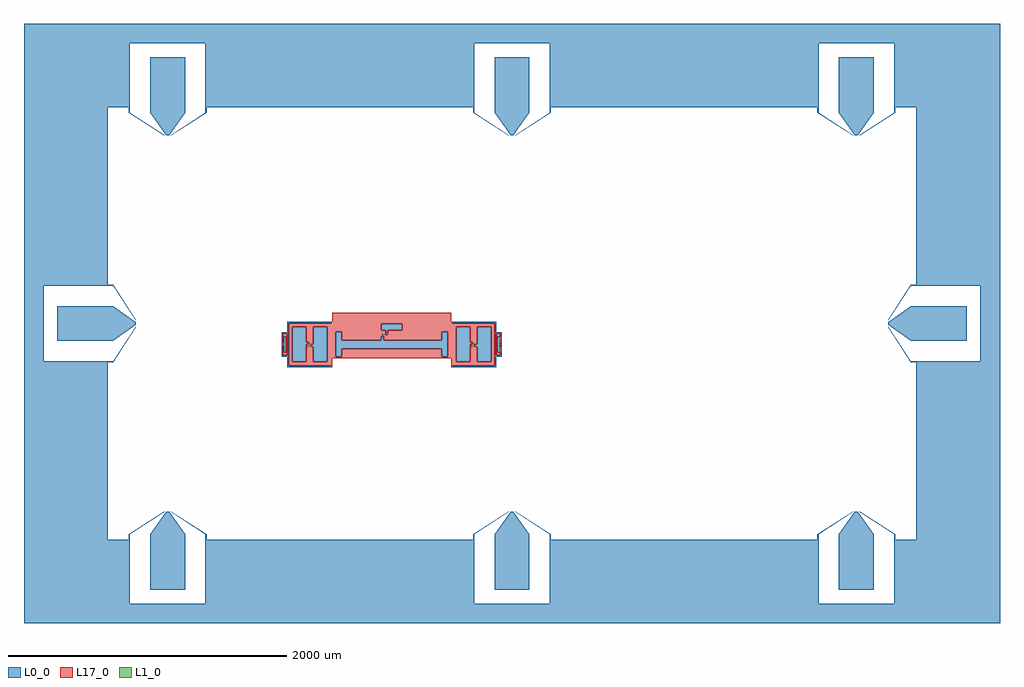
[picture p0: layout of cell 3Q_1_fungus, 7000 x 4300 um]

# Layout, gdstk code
import gdstk
lib = gdstk.Library(unit=1e-6, precision=1e-09)
def P(c, l, *ps):  # polygons
    for p in ps: c.add(gdstk.Polygon(p, *l))
L0_0 = (0, 0)
L1_0 = (1, 0)
L17_0 = (17, 0)

c_3q_1_fungus = lib.new_cell('3Q_1_fungus')
P(c_3q_1_fungus, L0_0, [(7000,0),(7000,4300),(0,4300),(0,1871),(132,1871),(132,2429),(600,2429),(600,3700),(751,3700),(751,4168),(1309,4168),(1309,3700),(3221,3700),(3221,4168),(3779,4168),(3779,3700),(5691,3700),(5691,4168),(6249,4168),(6249,3700),(6400,3700),(6400,2429),(6868,2429),(6868,1871),(6400,1871),(6400,600),(6249,600),(6249,132),(5691,132),(5691,600),(3779,600),(3779,132),(3221,132),(3221,600),(1309,600),(1309,132),(751,132),(751,600),(600,600),(600,1871),(132,1871),(0,1871),(0,0)],
  [(800,2123),(800,2128),(640,1879),(140,1879),(140,2421),(640,2421),(800,2172),(800,2177),(640,2429),(132,2429),(132,1871),(640,1871)],
  [(240,2025),(640,2025),(800,2140),(800,2160),(640,2275),(240,2275)],
  [(6200,2177),(6200,2172),(6360,2421),(6860,2421),(6860,1879),(6360,1879),(6200,2128),(6200,2123),(6360,1871),(6868,1871),(6868,2429),(6360,2429)],
  [(6760,2275),(6360,2275),(6200,2160),(6200,2140),(6360,2025),(6760,2025)],
  [(1057,800),(1052,800),(1301,640),(1301,140),(759,140),(759,640),(1008,800),(1003,800),(751,640),(751,132),(1309,132),(1309,640)],
  [(1155,240),(1155,640),(1040,800),(1020,800),(905,640),(905,240)],
  [(1003,3500),(1008,3500),(759,3660),(759,4160),(1301,4160),(1301,3660),(1052,3500),(1057,3500),(1309,3660),(1309,4168),(751,4168),(751,3660)],
  [(905,4060),(905,3660),(1020,3500),(1040,3500),(1155,3660),(1155,4060)],
  [(3527,800),(3522,800),(3771,640),(3771,140),(3229,140),(3229,640),(3478,800),(3473,800),(3221,640),(3221,132),(3779,132),(3779,640)],
  [(3625,240),(3625,640),(3510,800),(3490,800),(3375,640),(3375,240)],
  [(3473,3500),(3478,3500),(3229,3660),(3229,4160),(3771,4160),(3771,3660),(3522,3500),(3527,3500),(3779,3660),(3779,4168),(3221,4168),(3221,3660)],
  [(3375,4060),(3375,3660),(3490,3500),(3510,3500),(3625,3660),(3625,4060)],
  [(5997,800),(5992,800),(6241,640),(6241,140),(5699,140),(5699,640),(5948,800),(5943,800),(5691,640),(5691,132),(6249,132),(6249,640)],
  [(6095,240),(6095,640),(5980,800),(5960,800),(5845,640),(5845,240)],
  [(5943,3500),(5948,3500),(5699,3660),(5699,4160),(6241,4160),(6241,3660),(5992,3500),(5997,3500),(6249,3660),(6249,4168),(5691,4168),(5691,3660)],
  [(5845,4060),(5845,3660),(5960,3500),(5980,3500),(6095,3660),(6095,4060)],
  [(2202.5,1847.5),(1897.5,1847.5),(1897.5,2152.5),(2202.5,2152.5),(2202.5,2162.5),(1887.5,2162.5),(1887.5,2088.75),(1847.5,2088.75),(1847.5,2012),(1857.5,2012),(1857.5,2078.75),(1887.5,2078.75),(1887.5,1921.25),(1857.5,1921.25),(1857.5,1988),(1847.5,1988),(1847.5,1911.25),(1887.5,1911.25),(1887.5,1837.5),(2202.5,1837.5)],
  [(2175,2125),(2075,2125),(2075,2000),(2055,2000),(2055,1992),(2063,1992),(2063,1987),(2055,1987),(2055,1984),(2075,1984),(2075,1875),(2175,1875)],
  [(2025,2000),(2032,2000),(2032,2008),(2037,2008),(2037,2000),(2045,2000),(2045,2016),(2025,2016),(2025,2125),(1925,2125),(1925,1875),(2025,1875)],
  [(1880.5,2055.75),(1864.5,2055.75),(1864.5,2004),(1857.5,2004),(1857.5,1996),(1864.5,1996),(1864.5,1944.25),(1880.5,1944.25)],
  [(3350,2125),(3250,2125),(3250,2000),(3230,2000),(3230,1992),(3238,1992),(3238,1987),(3230,1987),(3230,1984),(3250,1984),(3250,1875),(3350,1875)],
  [(3200,2000),(3207,2000),(3207,2008),(3212,2008),(3212,2000),(3220,2000),(3220,2016),(3200,2016),(3200,2125),(3100,2125),(3100,1875),(3200,1875)],
  [(3072.5,2162.5),(3072.5,2152.5),(3377.5,2152.5),(3377.5,1847.5),(3072.5,1847.5),(3072.5,1837.5),(3387.5,1837.5),(3387.5,1911.25),(3427.5,1911.25),(3427.5,1988),(3417.5,1988),(3417.5,1921.25),(3387.5,1921.25),(3387.5,2078.75),(3417.5,2078.75),(3417.5,2012),(3427.5,2012),(3427.5,2088.75),(3387.5,2088.75),(3387.5,2162.5)],
  [(3410.5,1996),(3417.5,1996),(3417.5,2004),(3410.5,2004),(3410.5,2055.75),(3394.5,2055.75),(3394.5,1944.25),(3410.5,1944.25)],
  [(2997.5,2090),(2997.5,2030),(2578.5,2030),(2578.5,2060),(2562.5,2060),(2562.5,2030),(2277.5,2030),(2277.5,2090),(2237.5,2090),(2237.5,1910),(2277.5,1910),(2277.5,1970),(2997.5,1970),(2997.5,1910),(3037.5,1910),(3037.5,2090)],
  [(2562.5,2150),(2562.5,2100),(2594.5,2100),(2594.5,2070),(2610.5,2070),(2610.5,2100),(2712.5,2100),(2712.5,2150)],
  [(7000,0),(7000,4300),(0,4300),(0,1871),(132,1871),(132,2429),(600,2429),(600,3700),(751,3700),(751,4168),(1309,4168),(1309,3700),(3221,3700),(3221,4168),(3779,4168),(3779,3700),(5691,3700),(5691,4168),(6249,4168),(6249,3700),(6400,3700),(6400,2429),(6868,2429),(6868,1871),(6400,1871),(6400,600),(6249,600),(6249,132),(5691,132),(5691,600),(3779,600),(3779,132),(3221,132),(3221,600),(1309,600),(1309,132),(751,132),(751,600),(600,600),(600,1871),(132,1871),(0,1871),(0,0)],
  [(800,2123),(800,2128),(640,1879),(140,1879),(140,2421),(640,2421),(800,2172),(800,2177),(640,2429),(132,2429),(132,1871),(640,1871)],
  [(240,2025),(640,2025),(800,2140),(800,2160),(640,2275),(240,2275)],
  [(6200,2177),(6200,2172),(6360,2421),(6860,2421),(6860,1879),(6360,1879),(6200,2128),(6200,2123),(6360,1871),(6868,1871),(6868,2429),(6360,2429)],
  [(6760,2275),(6360,2275),(6200,2160),(6200,2140),(6360,2025),(6760,2025)],
  [(1057,800),(1052,800),(1301,640),(1301,140),(759,140),(759,640),(1008,800),(1003,800),(751,640),(751,132),(1309,132),(1309,640)],
  [(1155,240),(1155,640),(1040,800),(1020,800),(905,640),(905,240)],
  [(1003,3500),(1008,3500),(759,3660),(759,4160),(1301,4160),(1301,3660),(1052,3500),(1057,3500),(1309,3660),(1309,4168),(751,4168),(751,3660)],
  [(905,4060),(905,3660),(1020,3500),(1040,3500),(1155,3660),(1155,4060)],
  [(3527,800),(3522,800),(3771,640),(3771,140),(3229,140),(3229,640),(3478,800),(3473,800),(3221,640),(3221,132),(3779,132),(3779,640)],
  [(3625,240),(3625,640),(3510,800),(3490,800),(3375,640),(3375,240)],
  [(3473,3500),(3478,3500),(3229,3660),(3229,4160),(3771,4160),(3771,3660),(3522,3500),(3527,3500),(3779,3660),(3779,4168),(3221,4168),(3221,3660)],
  [(3375,4060),(3375,3660),(3490,3500),(3510,3500),(3625,3660),(3625,4060)],
  [(5997,800),(5992,800),(6241,640),(6241,140),(5699,140),(5699,640),(5948,800),(5943,800),(5691,640),(5691,132),(6249,132),(6249,640)],
  [(6095,240),(6095,640),(5980,800),(5960,800),(5845,640),(5845,240)],
  [(5943,3500),(5948,3500),(5699,3660),(5699,4160),(6241,4160),(6241,3660),(5992,3500),(5997,3500),(6249,3660),(6249,4168),(5691,4168),(5691,3660)],
  [(5845,4060),(5845,3660),(5960,3500),(5980,3500),(6095,3660),(6095,4060)],
  [(2202.5,1847.5),(1897.5,1847.5),(1897.5,2152.5),(2202.5,2152.5),(2202.5,2162.5),(1887.5,2162.5),(1887.5,2088.75),(1847.5,2088.75),(1847.5,2012),(1857.5,2012),(1857.5,2078.75),(1887.5,2078.75),(1887.5,1921.25),(1857.5,1921.25),(1857.5,1988),(1847.5,1988),(1847.5,1911.25),(1887.5,1911.25),(1887.5,1837.5),(2202.5,1837.5)],
  [(2175,2125),(2075,2125),(2075,2000),(2055,2000),(2055,1992),(2063,1992),(2063,1987),(2055,1987),(2055,1984),(2075,1984),(2075,1875),(2175,1875)],
  [(2025,2000),(2032,2000),(2032,2008),(2037,2008),(2037,2000),(2045,2000),(2045,2016),(2025,2016),(2025,2125),(1925,2125),(1925,1875),(2025,1875)],
  [(1880.5,2055.75),(1864.5,2055.75),(1864.5,2004),(1857.5,2004),(1857.5,1996),(1864.5,1996),(1864.5,1944.25),(1880.5,1944.25)],
  [(3350,2125),(3250,2125),(3250,2000),(3230,2000),(3230,1992),(3238,1992),(3238,1987),(3230,1987),(3230,1984),(3250,1984),(3250,1875),(3350,1875)],
  [(3200,2000),(3207,2000),(3207,2008),(3212,2008),(3212,2000),(3220,2000),(3220,2016),(3200,2016),(3200,2125),(3100,2125),(3100,1875),(3200,1875)],
  [(3072.5,2162.5),(3072.5,2152.5),(3377.5,2152.5),(3377.5,1847.5),(3072.5,1847.5),(3072.5,1837.5),(3387.5,1837.5),(3387.5,1911.25),(3427.5,1911.25),(3427.5,1988),(3417.5,1988),(3417.5,1921.25),(3387.5,1921.25),(3387.5,2078.75),(3417.5,2078.75),(3417.5,2012),(3427.5,2012),(3427.5,2088.75),(3387.5,2088.75),(3387.5,2162.5)],
  [(3410.5,1996),(3417.5,1996),(3417.5,2004),(3410.5,2004),(3410.5,2055.75),(3394.5,2055.75),(3394.5,1944.25),(3410.5,1944.25)],
  [(2997.5,2090),(2997.5,2030),(2578.5,2030),(2578.5,2060),(2562.5,2060),(2562.5,2030),(2277.5,2030),(2277.5,2090),(2237.5,2090),(2237.5,1910),(2277.5,1910),(2277.5,1970),(2997.5,1970),(2997.5,1910),(3037.5,1910),(3037.5,2090)],
  [(2562.5,2150),(2562.5,2100),(2594.5,2100),(2594.5,2070),(2610.5,2070),(2610.5,2100),(2712.5,2100),(2712.5,2150)])
P(c_3q_1_fungus, L1_0, [(2030.5,1988.606),(2030.5,1988.394),(2035.394,1988.394),(2035.394,1975.5),(2035.606,1975.5),(2035.606,1988.394),(2050.5,1988.394),(2050.5,1987.5),(2062.5,1987.5),(2062.5,1989.5),(2050.5,1989.5),(2050.5,1988.606),(2035.606,1988.606),(2035.606,1995.5),(2036.5,1995.5),(2036.5,2007.5),(2034.5,2007.5),(2034.5,1995.5),(2035.394,1995.5),(2035.394,1988.606)],
  [(3205.5,1988.606),(3205.5,1988.394),(3210.394,1988.394),(3210.394,1975.5),(3210.606,1975.5),(3210.606,1988.394),(3225.5,1988.394),(3225.5,1987.5),(3237.5,1987.5),(3237.5,1989.5),(3225.5,1989.5),(3225.5,1988.606),(3210.606,1988.606),(3210.606,1995.5),(3211.5,1995.5),(3211.5,2007.5),(3209.5,2007.5),(3209.5,1995.5),(3210.394,1995.5),(3210.394,1988.606)],
  [(2573.273,2070.212),(2573.273,2076),(2573.061,2076),(2573.061,2070.212),(2567.939,2070.212),(2567.939,2076),(2567.727,2076),(2567.727,2070.212),(2562.5,2070.212),(2562.5,2070),(2567.727,2070),(2567.727,2060),(2567.939,2060),(2567.939,2070),(2573.061,2070),(2573.061,2060),(2573.273,2060),(2573.273,2070),(2594.5,2070),(2594.5,2070.212)],
  [(2030.5,1988.606),(2030.5,1988.394),(2035.394,1988.394),(2035.394,1975.5),(2035.606,1975.5),(2035.606,1988.394),(2050.5,1988.394),(2050.5,1987.5),(2062.5,1987.5),(2062.5,1989.5),(2050.5,1989.5),(2050.5,1988.606),(2035.606,1988.606),(2035.606,1995.5),(2036.5,1995.5),(2036.5,2007.5),(2034.5,2007.5),(2034.5,1995.5),(2035.394,1995.5),(2035.394,1988.606)],
  [(3205.5,1988.606),(3205.5,1988.394),(3210.394,1988.394),(3210.394,1975.5),(3210.606,1975.5),(3210.606,1988.394),(3225.5,1988.394),(3225.5,1987.5),(3237.5,1987.5),(3237.5,1989.5),(3225.5,1989.5),(3225.5,1988.606),(3210.606,1988.606),(3210.606,1995.5),(3211.5,1995.5),(3211.5,2007.5),(3209.5,2007.5),(3209.5,1995.5),(3210.394,1995.5),(3210.394,1988.606)],
  [(2573.273,2070.212),(2573.273,2076),(2573.061,2076),(2573.061,2070.212),(2567.939,2070.212),(2567.939,2076),(2567.727,2076),(2567.727,2070.212),(2562.5,2070.212),(2562.5,2070),(2567.727,2070),(2567.727,2060),(2567.939,2060),(2567.939,2070),(2573.061,2070),(2573.061,2060),(2573.273,2060),(2573.273,2070),(2594.5,2070),(2594.5,2070.212)])
P(c_3q_1_fungus, L17_0, [(2212.5,2162.5),(2202.5,2162.5),(2202.5,2152.5),(1897.5,2152.5),(1897.5,1875),(1925,1875),(1925,2125),(2025,2125),(2025,2016),(2045,2016),(2045,2000),(2037,2000),(2037,2008),(2032,2008),(2032,2000),(2025,2000),(2025,1984),(2055,1984),(2055,1987),(2063,1987),(2063,1992),(2055,1992),(2055,2000),(2075,2000),(2075,2125),(2175,2125),(2175,1875),(2075,1875),(2075,1984),(2055,1984),(2025,1984),(2025,1875),(1925,1875),(1897.5,1875),(1897.5,1847.5),(2202.5,1847.5),(2202.5,1837.5),(2212.5,1837.5)],
  [(1857.5,1988),(1857.5,1921.25),(1887.5,1921.25),(1887.5,2078.75),(1857.5,2078.75),(1857.5,2012),(1847.5,2012),(1847.5,1996),(1857.5,1996),(1857.5,2004),(1864.5,2004),(1864.5,2055.75),(1880.5,2055.75),(1880.5,1944.25),(1864.5,1944.25),(1864.5,1996),(1857.5,1996),(1847.5,1996),(1847.5,1988)],
  [(3072.5,1847.5),(3377.5,1847.5),(3377.5,2152.5),(3072.5,2152.5),(3072.5,2162.5),(3062.5,2162.5),(3062.5,1875),(3100,1875),(3100,2125),(3200,2125),(3200,2016),(3220,2016),(3220,2000),(3212,2000),(3212,2008),(3207,2008),(3207,2000),(3200,2000),(3200,1984),(3230,1984),(3230,1987),(3238,1987),(3238,1992),(3230,1992),(3230,2000),(3250,2000),(3250,2125),(3350,2125),(3350,1875),(3250,1875),(3250,1984),(3230,1984),(3200,1984),(3200,1875),(3100,1875),(3062.5,1875),(3062.5,1837.5),(3072.5,1837.5)],
  [(3417.5,1988),(3427.5,1988),(3427.5,2012),(3417.5,2012),(3417.5,2078.75),(3387.5,2078.75),(3387.5,1944.25),(3394.5,1944.25),(3394.5,2055.75),(3410.5,2055.75),(3410.5,2004),(3417.5,2004),(3417.5,1996),(3410.5,1996),(3410.5,1944.25),(3394.5,1944.25),(3387.5,1944.25),(3387.5,1921.25),(3417.5,1921.25)],
  [(2212.5,2227.5),(2212.5,1902.5),(3037.5,1902.5),(3037.5,1910),(2997.5,1910),(2997.5,1970),(2277.5,1970),(2277.5,1910),(2237.5,1910),(2237.5,2090),(2277.5,2090),(2277.5,2030),(2562.5,2030),(2562.5,2060),(2578.5,2060),(2578.5,2030),(2610.5,2030),(2610.5,2070),(2594.5,2070),(2594.5,2100),(2562.5,2100),(2562.5,2150),(2712.5,2150),(2712.5,2100),(2610.5,2100),(2610.5,2070),(2610.5,2030),(2997.5,2030),(2997.5,2090),(3037.5,2090),(3037.5,1910),(3037.5,1902.5),(3062.5,1902.5),(3062.5,2227.5)],
  [(2212.5,2162.5),(2202.5,2162.5),(2202.5,2152.5),(1897.5,2152.5),(1897.5,1875),(1925,1875),(1925,2125),(2025,2125),(2025,2016),(2045,2016),(2045,2000),(2037,2000),(2037,2008),(2032,2008),(2032,2000),(2025,2000),(2025,1984),(2055,1984),(2055,1987),(2063,1987),(2063,1992),(2055,1992),(2055,2000),(2075,2000),(2075,2125),(2175,2125),(2175,1875),(2075,1875),(2075,1984),(2055,1984),(2025,1984),(2025,1875),(1925,1875),(1897.5,1875),(1897.5,1847.5),(2202.5,1847.5),(2202.5,1837.5),(2212.5,1837.5)],
  [(1857.5,1988),(1857.5,1921.25),(1887.5,1921.25),(1887.5,2078.75),(1857.5,2078.75),(1857.5,2012),(1847.5,2012),(1847.5,1996),(1857.5,1996),(1857.5,2004),(1864.5,2004),(1864.5,2055.75),(1880.5,2055.75),(1880.5,1944.25),(1864.5,1944.25),(1864.5,1996),(1857.5,1996),(1847.5,1996),(1847.5,1988)],
  [(3072.5,1847.5),(3377.5,1847.5),(3377.5,2152.5),(3072.5,2152.5),(3072.5,2162.5),(3062.5,2162.5),(3062.5,1875),(3100,1875),(3100,2125),(3200,2125),(3200,2016),(3220,2016),(3220,2000),(3212,2000),(3212,2008),(3207,2008),(3207,2000),(3200,2000),(3200,1984),(3230,1984),(3230,1987),(3238,1987),(3238,1992),(3230,1992),(3230,2000),(3250,2000),(3250,2125),(3350,2125),(3350,1875),(3250,1875),(3250,1984),(3230,1984),(3200,1984),(3200,1875),(3100,1875),(3062.5,1875),(3062.5,1837.5),(3072.5,1837.5)],
  [(3417.5,1988),(3427.5,1988),(3427.5,2012),(3417.5,2012),(3417.5,2078.75),(3387.5,2078.75),(3387.5,1944.25),(3394.5,1944.25),(3394.5,2055.75),(3410.5,2055.75),(3410.5,2004),(3417.5,2004),(3417.5,1996),(3410.5,1996),(3410.5,1944.25),(3394.5,1944.25),(3387.5,1944.25),(3387.5,1921.25),(3417.5,1921.25)],
  [(2212.5,2227.5),(2212.5,1902.5),(3037.5,1902.5),(3037.5,1910),(2997.5,1910),(2997.5,1970),(2277.5,1970),(2277.5,1910),(2237.5,1910),(2237.5,2090),(2277.5,2090),(2277.5,2030),(2562.5,2030),(2562.5,2060),(2578.5,2060),(2578.5,2030),(2610.5,2030),(2610.5,2070),(2594.5,2070),(2594.5,2100),(2562.5,2100),(2562.5,2150),(2712.5,2150),(2712.5,2100),(2610.5,2100),(2610.5,2070),(2610.5,2030),(2997.5,2030),(2997.5,2090),(3037.5,2090),(3037.5,1910),(3037.5,1902.5),(3062.5,1902.5),(3062.5,2227.5)])

lib.write_gds('3Q_1_fungus.gds')
